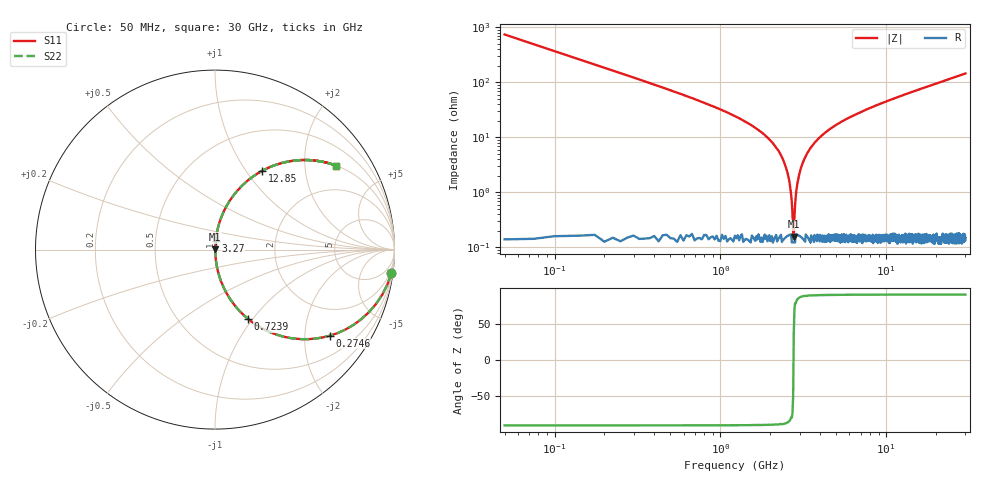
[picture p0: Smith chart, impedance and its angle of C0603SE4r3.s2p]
!	AVX Thin Film Operation 	Date: April 2014
!	Description: Accu-P® Series, Thin Film  SMD RF Capacitor
!	Part Number: 06031J4R3ABSTR
# MHZ S MA R 50
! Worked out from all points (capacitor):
!   1201 points, 50 MHz to 30 GHz, reference 50 ohm
!   read as one part in series: C = 4.3 pF near 199.8 MHz
!   lowest |Z| = 157 mohm at 2.77 GHz (marker M1)
!   series resonance near 2.761 GHz, so ESL is about 770 pH
!   S11 on the Smith chart (normalised r, x): 50 MHz: 1, -15; 274.6 MHz: 1.00, -2.67; 723.9 MHz: 1.00, -0.95; 3.27 GHz: 1.00, +0.09; 12.85 GHz: 1.00, +1.19; 30 GHz: 1.00, +2.89
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50  0.991 -7.7  0.134 82.3  0.134 82.3  0.991 -7.7
274.625  0.8 -36.8  0.599 53.1  0.599 53.1  0.8 -36.8
499.25  0.582 -54.3  0.812 35.6  0.812 35.6  0.582 -54.3
723.875  0.429 -64.4  0.902 25.4  0.902 25.4  0.429 -64.4
1248  0.229 -76.4  0.972 13.3  0.972 13.3  0.229 -76.4
2196.417  0.062 -85.1  0.997 3.5  0.997 3.5  0.062 -85.1
2446  0.032 -85.6  0.998 1.9  0.998 1.9  0.032 -85.6
2545.833  0.022 -84.9  0.998 1.2  0.998 1.2  0.022 -84.9
2645.667  0.011 -82.0  0.998 0.7  0.998 0.7  0.011 -82.0
2770.458  0.001754 33.1  0.999 -0.1  0.999 -0.1  0.001754 33.1
2870.292  0.011 81.4  0.998 -0.6  0.998 -0.6  0.011 81.4
3045  0.026 85.3  0.998 -1.5  0.998 -1.5  0.026 85.3
3269.625  0.046 85.5  0.997 -2.6  0.997 -2.6  0.046 85.5
3943.5  0.097 83.6  0.994 -5.6  0.994 -5.6  0.097 83.6
5041.667  0.169 79.8  0.984 -9.7  0.984 -9.7  0.169 79.8
7038.333  0.277 73.6  0.959 -16.1  0.959 -16.1  0.277 73.6
10058.29  0.411 65.5  0.91 -24.3  0.91 -24.3  0.411 65.5
12853.62  0.511 59.1  0.858 -30.7  0.858 -30.7  0.511 59.1
15025  0.576 54.7  0.816 -35.1  0.816 -35.1  0.576 54.7
20016.67  0.69 46.3  0.723 -43.6  0.723 -43.6  0.69 46.3
25033.29  0.768 39.8  0.639 -50.2  0.639 -50.2  0.768 39.8
30000  0.822 34.7  0.569 -55.3  0.569 -55.3  0.822 34.7
